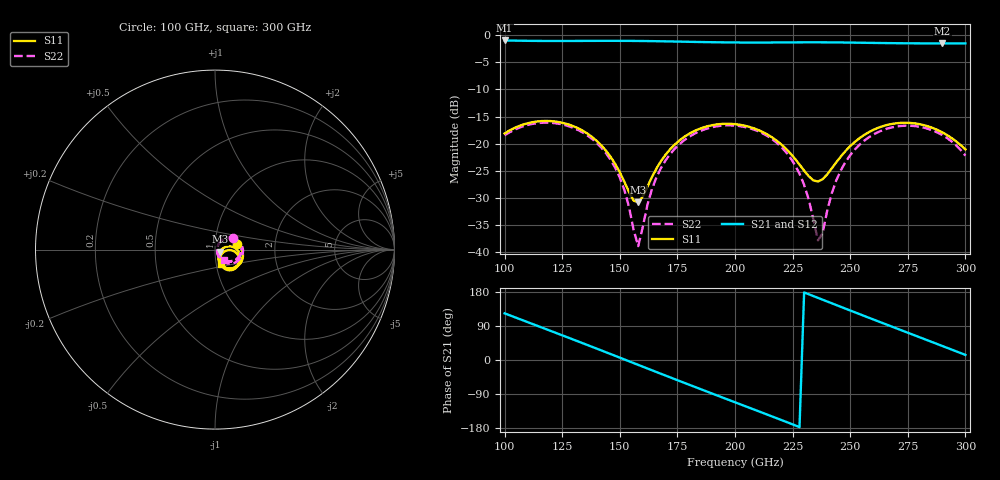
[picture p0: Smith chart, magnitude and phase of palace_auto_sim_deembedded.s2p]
! Created with skrf 1.11.0 (http://scikit-rf.org).
# GHz S DB R 50.0
!freq dBS11 angS11 dBS21 angS21 dBS12 angS12 dBS22 angS22
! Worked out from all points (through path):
!   101 points, 100 GHz to 300 GHz, reference 50 ohm
!   highest |S21| = -0.95 dB at 100 GHz (marker M1); lowest = -1.5 dB at 290 GHz (marker M2)
!   group delay of S21, straight-line fit = 6.53 ps
!   lowest |S11| = -30.8 dB at 158 GHz (marker M3), VSWR 1.06, Z = 52.7 - j1.17 ohm
!   |S11| at or under -10 dB: start of sweep to end of sweep
!   |S22| runs from -38.9 to -16.1 dB; largest |S21 - S12| = 1e-13
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100  -18.11 14.4  -0.95 123.2  -0.95 123.2  -18.46 31.3
116  -15.82 -17.9  -1.04 86.0  -1.04 86.0  -16.14 -0.4
134  -17.62 -53.8  -1.04 44.1  -1.04 44.1  -17.96 -37.0
148  -23.74 -71.4  -1.02 11.0  -1.02 11.0  -24.44 -61.4
152  -27.04 -66.5  -1.03 1.4  -1.03 1.4  -28.57 -63.3
158  -30.84 -22.7  -1.05 -12.9  -1.05 -12.9  -38.90 0.1
164  -26.10 11.9  -1.08 -27.2  -1.08 -27.2  -28.31 55.8
168  -23.13 14.2  -1.10 -36.7  -1.10 -36.7  -24.38 53.5
184  -17.36 -7.3  -1.23 -74.4  -1.23 -74.4  -17.83 25.5
200  -16.39 -35.8  -1.32 -111.6  -1.32 -111.6  -16.66 -6.3
222  -20.88 -66.2  -1.32 -162.8  -1.32 -162.8  -21.49 -48.9
230  -24.97 -60.1  -1.30 178.3  -1.30 178.3  -27.59 -58.0
234  -26.77 -44.0  -1.30 168.8  -1.30 168.8  -33.92 -46.6
236  -26.98 -32.7  -1.30 164.0  -1.30 164.0  -37.84 -15.8
238  -26.56 -21.8  -1.30 159.2  -1.30 159.2  -36.55 31.5
244  -23.41 -3.8  -1.32 144.9  -1.32 144.9  -26.73 57.9
248  -21.34 -2.2  -1.33 135.4  -1.33 135.4  -23.34 54.0
258  -17.89 -11.7  -1.39 111.8  -1.39 111.8  -18.85 35.9
268  -16.36 -27.3  -1.45 88.3  -1.45 88.3  -17.00 15.4
278  -16.25 -43.8  -1.48 65.0  -1.48 65.0  -16.75 -5.5
290  -17.91 -61.0  -1.49 37.0  -1.49 37.0  -18.41 -30.2
300  -21.04 -66.7  -1.49 13.5  -1.49 13.5  -22.21 -48.9
